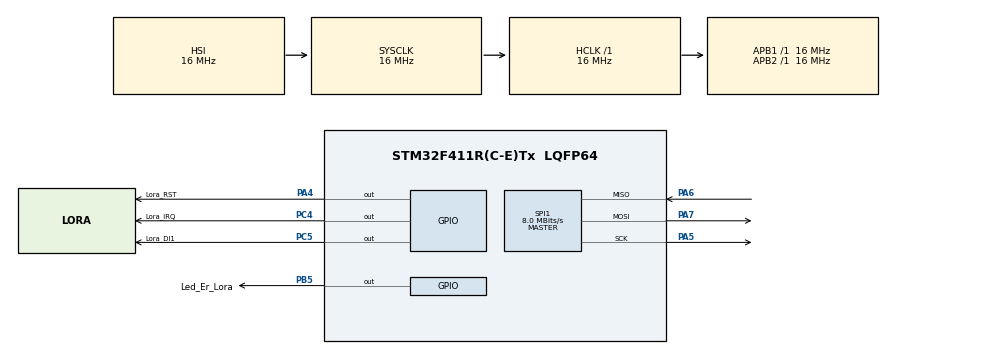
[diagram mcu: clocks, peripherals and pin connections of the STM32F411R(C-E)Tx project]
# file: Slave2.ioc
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Mcu.Family=STM32F4
Mcu.Name=STM32F411R(C-E)Tx
Mcu.Package=LQFP64
NVIC.PriorityGroup=NVIC_PRIORITYGROUP_4
PA13.Mode=Serial_Wire
PA13.Signal=SYS_JTMS-SWDIO
PA14.Mode=Serial_Wire
PA14.Signal=SYS_JTCK-SWCLK
PA4.GPIO_Label=Lora_RST
PA4.Signal=GPIO_Output
PA5.Mode=Full_Duplex_Master
PA5.Signal=SPI1_SCK
PA6.Mode=Full_Duplex_Master
PA6.Signal=SPI1_MISO
PA7.Mode=Full_Duplex_Master
PA7.Signal=SPI1_MOSI
PB5.GPIO_Label=Led_Er_Lora
PB5.Signal=GPIO_Output
PC4.GPIO_Label=Lora_IRQ
PC4.Signal=GPIO_Output
PC5.GPIO_Label=Lora_DI1
PC5.Signal=GPIO_Output
ProjectManager.HeapSize=0x200
ProjectManager.StackSize=0x400
ProjectManager.TargetToolchain=STM32CubeIDE
RCC.AHBFreq_Value=16000000
RCC.APB1Freq_Value=16000000
RCC.APB2Freq_Value=16000000
RCC.CortexFreq_Value=16000000
RCC.HSE_VALUE=25000000
RCC.HSI_VALUE=16000000
RCC.LSE_VALUE=32768
RCC.SYSCLKFreq_VALUE=16000000
RCC.VCOOutputFreq_Value=192000000
SPI1.CalculateBaudRate=8.0 MBits/s
SPI1.Direction=SPI_DIRECTION_2LINES
SPI1.Mode=SPI_MODE_MASTER
SPI1.VirtualType=VM_MASTER
board=custom

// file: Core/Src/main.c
/* USER CODE BEGIN Header */
/**
  ******************************************************************************
  * @file           : main.c
  * @brief          : Main program body
  ******************************************************************************
  * @attention
  *
  * Copyright (c) 2024 STMicroelectronics.
  * All rights reserved.
  *
  * This software is licensed under terms that can be found in the LICENSE file
  * in the root directory of this software component.
  * If no LICENSE file comes with this software, it is provided AS-IS.
  *
  ******************************************************************************
  */
/* USER CODE END Header */
#include "main.h"

/* USER CODE BEGIN Includes */
#include "string.h"
#include "stdio.h"
#include "string.h"
#include "stdio.h"
#include "LoRa.h"
/* USER CODE END Includes */

/* USER CODE BEGIN PD */
#define MAX_DATA 128
/* USER CODE END PD */

SPI_HandleTypeDef hspi1;

/* USER CODE BEGIN PV */
LoRa Lora_Slave2;
uint8_t send_data[MAX_DATA];
/* USER CODE END PV */

void SystemClock_Config(void);
static void MX_GPIO_Init(void);
static void MX_SPI1_Init(void);

/* USER CODE BEGIN 0 */
void reset_lora_ble(void)
{
	//khoi tao lora
	Lora_Slave2 = newLoRa();

	Lora_Slave2.hSPIx                 = &hspi1;
	Lora_Slave2.CS_port               = Lora_IRQ_GPIO_Port;
	Lora_Slave2.CS_pin                = Lora_IRQ_Pin;
	Lora_Slave2.reset_port            = Lora_RST_GPIO_Port;
	Lora_Slave2.reset_pin             = Lora_RST_Pin;
	Lora_Slave2.DIO0_port						 = Lora_DI1_GPIO_Port;
	Lora_Slave2.DIO0_pin							 = Lora_DI1_Pin;

	Lora_Slave2.frequency             = 433;							 	 // default = 433 MHz
	Lora_Slave2.spredingFactor        = SF_7;								// default = SF_7
	Lora_Slave2.bandWidth			       = BW_125KHz;				  		// default = BW_125KHz
	Lora_Slave2.crcRate				       = CR_4_5;					// default = CR_4_5
	Lora_Slave2.power					       = POWER_20db;				// default = 20db
	Lora_Slave2.overCurrentProtection = 120; 								// default = 100 mA
	Lora_Slave2.preamble				       = 10;		  				// default = 8;

	LoRa_reset(&Lora_Slave2);
	if(LoRa_init(&Lora_Slave2) == LORA_OK)
	{
		HAL_GPIO_WritePin(Led_Er_Lora_GPIO_Port, Led_Er_Lora_Pin , GPIO_PIN_SET);
	}
	else
	{
		while(1)
		{
			HAL_GPIO_TogglePin(Led_Er_Lora_GPIO_Port, Led_Er_Lora_Pin);
			  HAL_Delay(1000);
		}
	}
	LoRa_startReceiving(&Lora_Slave2);
	HAL_Delay(1000);
}
/* USER CODE END 0 */

int main(void)
{

  /* MCU Configuration--------------------------------------------------------*/

  /* Reset of all peripherals, Initializes the Flash interface and the Systick. */
  HAL_Init();

  /* Configure the system clock */
  SystemClock_Config();

  /* Initialize all configured peripherals */
  MX_GPIO_Init();
  MX_SPI1_Init();

  /* Infinite loop */
  while (1)
  {

    /* USER CODE BEGIN 3 */
	  HAL_GPIO_TogglePin(Led_Er_Lora_GPIO_Port, Led_Er_Lora_Pin);
	  HAL_Delay(500);
  }
  /* USER CODE END 3 */
}

void SystemClock_Config(void)
{
  RCC_OscInitTypeDef RCC_OscInitStruct = {0};
  RCC_ClkInitTypeDef RCC_ClkInitStruct = {0};

  /** Configure the main internal regulator output voltage
  */
  __HAL_RCC_PWR_CLK_ENABLE();
  __HAL_PWR_VOLTAGESCALING_CONFIG(PWR_REGULATOR_VOLTAGE_SCALE1);

  /** Initializes the RCC Oscillators according to the specified parameters
  * in the RCC_OscInitTypeDef structure.
  */
  RCC_OscInitStruct.OscillatorType = RCC_OSCILLATORTYPE_HSI;
  RCC_OscInitStruct.HSIState = RCC_HSI_ON;
  RCC_OscInitStruct.HSICalibrationValue = RCC_HSICALIBRATION_DEFAULT;
  RCC_OscInitStruct.PLL.PLLState = RCC_PLL_NONE;
  if (HAL_RCC_OscConfig(&RCC_OscInitStruct) != HAL_OK)
  {
    Error_Handler();
  }

  /** Initializes the CPU, AHB and APB buses clocks
  */
  RCC_ClkInitStruct.ClockType = RCC_CLOCKTYPE_HCLK|RCC_CLOCKTYPE_SYSCLK
                              |RCC_CLOCKTYPE_PCLK1|RCC_CLOCKTYPE_PCLK2;
  RCC_ClkInitStruct.SYSCLKSource = RCC_SYSCLKSOURCE_HSI;
  RCC_ClkInitStruct.AHBCLKDivider = RCC_SYSCLK_DIV1;
  RCC_ClkInitStruct.APB1CLKDivider = RCC_HCLK_DIV1;
  RCC_ClkInitStruct.APB2CLKDivider = RCC_HCLK_DIV1;

  if (HAL_RCC_ClockConfig(&RCC_ClkInitStruct, FLASH_LATENCY_0) != HAL_OK)
  {
    Error_Handler();
  }
}

static void MX_SPI1_Init(void)
{

  /* SPI1 parameter configuration*/
  hspi1.Instance = SPI1;
  hspi1.Init.Mode = SPI_MODE_MASTER;
  hspi1.Init.Direction = SPI_DIRECTION_2LINES;
  hspi1.Init.DataSize = SPI_DATASIZE_8BIT;
  hspi1.Init.CLKPolarity = SPI_POLARITY_LOW;
  hspi1.Init.CLKPhase = SPI_PHASE_1EDGE;
  hspi1.Init.NSS = SPI_NSS_SOFT;
  hspi1.Init.BaudRatePrescaler = SPI_BAUDRATEPRESCALER_2;
  hspi1.Init.FirstBit = SPI_FIRSTBIT_MSB;
  hspi1.Init.TIMode = SPI_TIMODE_DISABLE;
  hspi1.Init.CRCCalculation = SPI_CRCCALCULATION_DISABLE;
  hspi1.Init.CRCPolynomial = 10;
  if (HAL_SPI_Init(&hspi1) != HAL_OK)
  {
    Error_Handler();
  }

}

static void MX_GPIO_Init(void)
{
  GPIO_InitTypeDef GPIO_InitStruct = {0};

  /* GPIO Ports Clock Enable */
  __HAL_RCC_GPIOA_CLK_ENABLE();
  __HAL_RCC_GPIOC_CLK_ENABLE();
  __HAL_RCC_GPIOB_CLK_ENABLE();

  /*Configure GPIO pin Output Level */
  HAL_GPIO_WritePin(Lora_RST_GPIO_Port, Lora_RST_Pin, GPIO_PIN_RESET);

  /*Configure GPIO pin Output Level */
  HAL_GPIO_WritePin(GPIOC, Lora_IRQ_Pin|Lora_DI1_Pin, GPIO_PIN_RESET);

  /*Configure GPIO pin Output Level */
  HAL_GPIO_WritePin(Led_Er_Lora_GPIO_Port, Led_Er_Lora_Pin, GPIO_PIN_RESET);

  /*Configure GPIO pin : Lora_RST_Pin */
  GPIO_InitStruct.Pin = Lora_RST_Pin;
  GPIO_InitStruct.Mode = GPIO_MODE_OUTPUT_PP;
  GPIO_InitStruct.Pull = GPIO_NOPULL;
  GPIO_InitStruct.Speed = GPIO_SPEED_FREQ_LOW;
  HAL_GPIO_Init(Lora_RST_GPIO_Port, &GPIO_InitStruct);

  /*Configure GPIO pins : Lora_IRQ_Pin Lora_DI1_Pin */
  GPIO_InitStruct.Pin = Lora_IRQ_Pin|Lora_DI1_Pin;
  GPIO_InitStruct.Mode = GPIO_MODE_OUTPUT_PP;
  GPIO_InitStruct.Pull = GPIO_NOPULL;
  GPIO_InitStruct.Speed = GPIO_SPEED_FREQ_LOW;
  HAL_GPIO_Init(GPIOC, &GPIO_InitStruct);

  /*Configure GPIO pin : Led_Er_Lora_Pin */
  GPIO_InitStruct.Pin = Led_Er_Lora_Pin;
  GPIO_InitStruct.Mode = GPIO_MODE_OUTPUT_PP;
  GPIO_InitStruct.Pull = GPIO_NOPULL;
  GPIO_InitStruct.Speed = GPIO_SPEED_FREQ_LOW;
  HAL_GPIO_Init(Led_Er_Lora_GPIO_Port, &GPIO_InitStruct);

}

void Error_Handler(void)
{
  __disable_irq();
  while (1)
  {
  }
}
